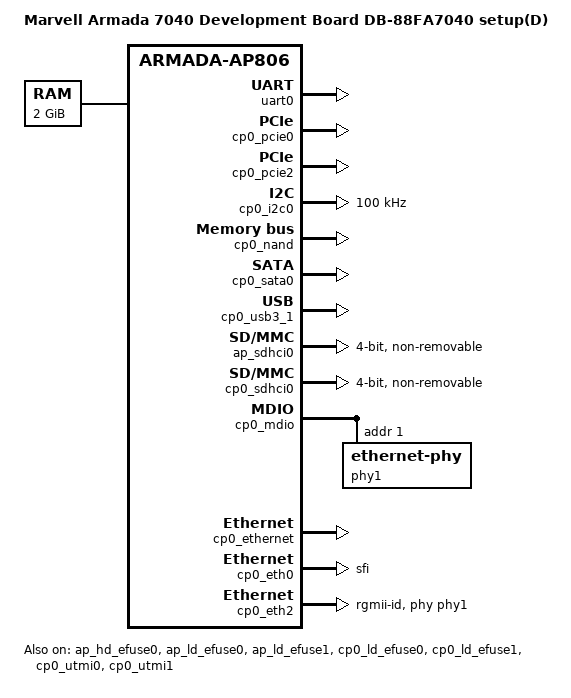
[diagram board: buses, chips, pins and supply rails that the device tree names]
// SPDX-License-Identifier: GPL-2.0+
/*
 * Copyright (C) 2018 Marvell International Ltd.
 */

/*
 * Device Tree file for Marvell Armada 7040 Development board platform
 * Boot device: SPI NOR, 0x32 (SW3)
 */

#include "armada-70x0-db.dtsi"

/ {
	model = "Marvell Armada 7040 Development Board DB-88FA7040 setup(D)";
	compatible = "marvell,armada7040-db", "marvell,armada7040",
		     "marvell,armada-ap806-quad", "marvell,armada-ap806";

	chosen {
		stdout-path = "serial0:115200n8";
	};

	aliases {
		i2c0 = &cp0_i2c0;
		spi0 = &cp0_spi1;
		fuse0 = &ap_hd_efuse0;
		fuse1 = &ap_ld_efuse0;
		fuse2 = &ap_ld_efuse1;
		fuse3 = &cp0_ld_efuse0;
		fuse4 = &cp0_ld_efuse1;
	};

	memory@00000000 {
		device_type = "memory";
		reg = <0x0 0x0 0x0 0x80000000>;
	};

	cp0_sar {
		boot_mode {
			default = <0xe>;
		};
	};
};

&ap_pinctl {
	   /* MPP Bus:
	    * SDIO  [0-5]
	    * UART0 [11,19]
	    */
		  /* 0 1 2 3 4 5 6 7 8 9 */
	pin-func = < 1 1 1 1 1 1 0 0 0 0
		     0 3 0 0 0 0 0 0 0 3 >;
};

&uart0 {
	status = "okay";
};

&ap_hd_efuse0 {
	status = "okay";
};

&ap_ld_efuse0 {
	status = "okay";
};

&ap_ld_efuse1 {
	status = "okay";
};

&cp0_pcie0 {
	status = "okay";
};

&cp0_pcie2 {
	status = "okay";
};

&cp0_i2c0 {
	pinctrl-names = "default";
	pinctrl-0 = <&cp0_i2c0_pins>;
	status = "okay";
	clock-frequency = <100000>;
};

&cp0_pinctl {
		/* MPP Bus:
		 * AUDIO   [0-5]
		 * SS_PWDN [12]
		 * NF_RBn  [13]
		 * DEV_BUS [14-27]
		 * SATA1   [28]
		 * UART0   [29-30]
		 * MSS_VTT [31]
		 * SMI	   [32,34]
		 * XSMI    [35-36]
		 * I2C	   [37-38]
		 * RGMII1  [44-55]
		 * SD	   [56-61]
		 * GPIO    [62]
		 */
		/*   0   1   2   3   4   5   6   7   8   9 */
	pin-func = < 2   2   2   2   2   2   0   0   0   0
		     0   0   0   2   0   1   1   1   1   1
		     1   1   1   1   1   1   1   1   9   0xA
		     0xA 0   7   0   7   7   7   2   2   0
		     0   0   0   0   1   1   1   1   1   1
		     1   1   1   1   1   1    0xE 0xE 0xE 0xE
		     0xE 0xE 0>;
};

&cp0_nand {
	status = "okay";
};

&cp0_ld_efuse0 {
	status = "okay";
};

&cp0_ld_efuse1 {
	status = "okay";
};

&cp0_sata0 {
	status = "okay";
};

&cp0_usb3_1 {
	status = "okay";
};

&cp0_comphy {
	phy0 {
		phy-type = <COMPHY_TYPE_PEX0>;
	};

	phy1 {
		phy-type = <COMPHY_TYPE_USB3_DEVICE>;
	};

	phy2 {
		phy-type = <COMPHY_TYPE_SFI0>;
		phy-speed = <COMPHY_SPEED_10_3125G>;
	};

	phy3 {
		phy-type = <COMPHY_TYPE_SATA1>;
	};

	phy4 {
		phy-type = <COMPHY_TYPE_USB3_HOST1>;
	};

	phy5 {
		phy-type = <COMPHY_TYPE_PEX2>;
	};
};

&cp0_utmi0 {
	utmi-port = <UTMI_PHY_TO_USB3_DEVICE0>;
	status = "okay";
};

&cp0_utmi1 {
	status = "okay";
};

&ap_sdhci0 {
	status = "okay";
	bus-width = <4>;
	no-1-8-v;
	non-removable;
};

&cp0_sdhci0 {
	status = "okay";
	bus-width = <4>;
	no-1-8-v;
	non-removable;
};

&cp0_mdio {
	status = "okay";
	phy1: ethernet-phy@1 {
		reg = <1>;
	};
};

&cp0_ethernet {
	status = "okay";
};

&cp0_eth0 {
	status = "okay";
	phy-mode = "sfi"; /* lane-2 */
};

&cp0_eth2 {
	status = "okay";
	phy = <&phy1>;
	phy-mode = "rgmii-id";
};
